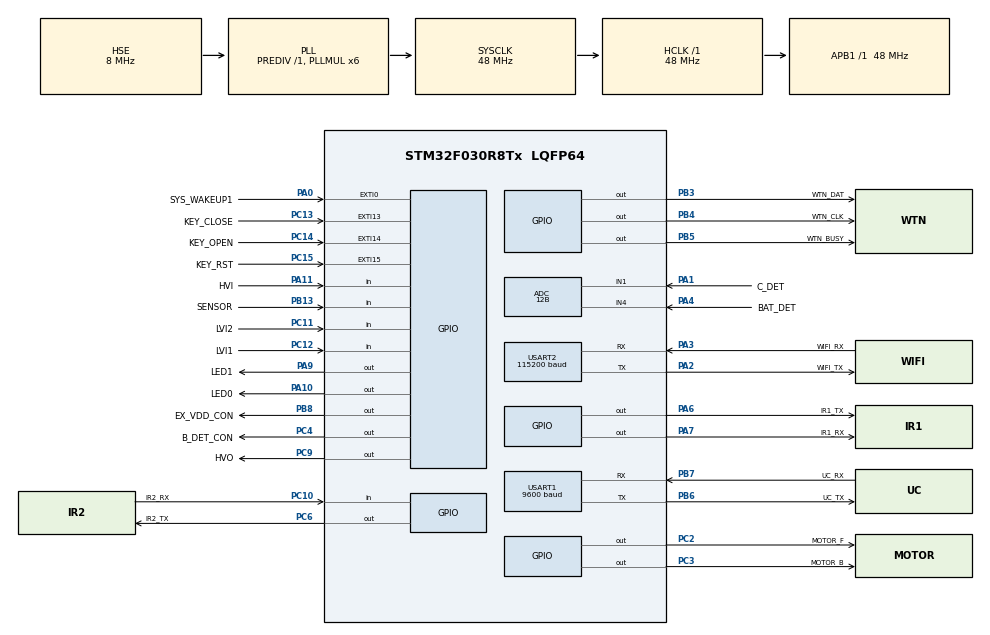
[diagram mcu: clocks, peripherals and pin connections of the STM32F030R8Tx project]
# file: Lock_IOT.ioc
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ADC.ClockPrescaler=ADC_CLOCK_SYNC_PCLK_DIV4
ADC.ContinuousConvMode=DISABLE
ADC.DMAContinuousRequests=DISABLE
ADC.Overrun=ADC_OVR_DATA_OVERWRITTEN
ADC.Resolution=ADC_RESOLUTION_12B
Dma.ADC.0.Direction=DMA_PERIPH_TO_MEMORY
Dma.ADC.0.Instance=DMA1_Channel2
Dma.ADC.0.MemDataAlignment=DMA_MDATAALIGN_WORD
Dma.ADC.0.MemInc=DMA_MINC_ENABLE
Dma.ADC.0.Mode=DMA_NORMAL
Dma.ADC.0.PeriphDataAlignment=DMA_PDATAALIGN_WORD
Dma.ADC.0.PeriphInc=DMA_PINC_DISABLE
Dma.ADC.0.Priority=DMA_PRIORITY_LOW
Dma.Request0=ADC
Mcu.Family=STM32F0
Mcu.Name=STM32F030R8Tx
Mcu.Package=LQFP64
NVIC.DMA1_Channel2_3_IRQn=true\:0\:0\:false\:true\:true\:4\:false\:true
NVIC.EXTI0_1_IRQn=true\:2\:0\:true\:true\:true\:1\:true\:true
NVIC.EXTI4_15_IRQn=true\:2\:0\:true\:true\:true\:2\:true\:true
NVIC.TIM17_IRQn=true\:3\:0\:true\:true\:true\:3\:true\:true
NVIC.USART1_IRQn=true\:1\:0\:true\:true\:true\:5\:true\:true
NVIC.USART2_IRQn=true\:1\:0\:true\:true\:true\:6\:true\:true
PA0.GPIO_Label=SYS_WAKEUP1
PA0.Signal=GPXTI0
PA1.GPIO_Label=C_DET
PA1.Mode=IN1
PA1.Signal=ADC_IN1
PA10.GPIO_Label=LED0
PA10.GPIO_Speed=GPIO_SPEED_FREQ_HIGH
PA10.PinState=GPIO_PIN_SET
PA10.Signal=GPIO_Output
PA11.GPIO_Label=HVI
PA11.Signal=GPIO_Input
PA13.Mode=Serial_Wire
PA13.Signal=SYS_SWDIO
PA14.Mode=Serial_Wire
PA14.Signal=SYS_SWCLK
PA2.GPIO_Label=WIFI_TX
PA2.GPIO_PuPd=GPIO_PULLUP
PA2.Mode=Asynchronous
PA2.Signal=USART2_TX
PA3.GPIO_Label=WIFI_RX
PA3.GPIO_PuPd=GPIO_PULLUP
PA3.Mode=Asynchronous
PA3.Signal=USART2_RX
PA4.GPIO_Label=BAT_DET
PA4.Mode=IN4
PA4.Signal=ADC_IN4
PA6.GPIO_Label=IR1_TX
PA6.GPIO_Speed=GPIO_SPEED_FREQ_HIGH
PA6.PinState=GPIO_PIN_SET
PA6.Signal=GPIO_Output
PA7.GPIO_Label=IR1_RX
PA7.GPIO_PuPd=GPIO_PULLDOWN
PA7.GPIO_Speed=GPIO_SPEED_FREQ_HIGH
PA7.Signal=GPIO_Output
PA9.GPIO_Label=LED1
PA9.GPIO_Speed=GPIO_SPEED_FREQ_HIGH
PA9.PinState=GPIO_PIN_SET
PA9.Signal=GPIO_Output
PB13.GPIO_Label=SENSOR
PB13.Signal=GPIO_Input
PB3.GPIO_Label=WTN_DAT
PB3.GPIO_Speed=GPIO_SPEED_FREQ_HIGH
PB3.Signal=GPIO_Output
PB4.GPIO_Label=WTN_CLK
PB4.GPIO_Speed=GPIO_SPEED_FREQ_HIGH
PB4.Signal=GPIO_Output
PB5.GPIO_Label=WTN_BUSY
PB5.GPIO_Speed=GPIO_SPEED_FREQ_HIGH
PB5.Signal=GPIO_Output
PB6.GPIO_Label=UC_TX
PB6.GPIO_PuPd=GPIO_PULLUP
PB6.Mode=Asynchronous
PB6.Signal=USART1_TX
PB7.GPIO_Label=UC_RX
PB7.GPIO_PuPd=GPIO_PULLUP
PB7.Mode=Asynchronous
PB7.Signal=USART1_RX
PB8.GPIO_FM8=SYSCFG_CFGR1_I2C_FMP_PB8
PB8.GPIO_Label=EX_VDD_CON
PB8.GPIO_Speed=GPIO_SPEED_FREQ_HIGH
PB8.PinState=GPIO_PIN_SET
PB8.Signal=GPIO_Output
PC10.GPIO_Label=IR2_RX
PC10.GPIO_PuPd=GPIO_PULLDOWN
PC10.Signal=GPIO_Input
PC11.GPIO_Label=LVI2
PC11.Signal=GPIO_Input
PC12.GPIO_Label=LVI1
PC12.Signal=GPIO_Input
PC13.GPIO_Label=KEY_CLOSE
PC13.GPIO_ModeDefaultEXTI=GPIO_MODE_IT_RISING
PC13.Signal=GPXTI13
PC14-OSC32_IN.GPIO_Label=KEY_OPEN
PC14-OSC32_IN.Signal=GPXTI14
PC15-OSC32_OUT.GPIO_Label=KEY_RST
PC15-OSC32_OUT.Signal=GPXTI15
PC2.GPIO_Label=MOTOR_F
PC2.GPIO_Speed=GPIO_SPEED_FREQ_HIGH
PC2.Signal=GPIO_Output
PC3.GPIO_Label=MOTOR_B
PC3.GPIO_Speed=GPIO_SPEED_FREQ_HIGH
PC3.Signal=GPIO_Output
PC4.GPIO_Label=B_DET_CON
PC4.GPIO_Speed=GPIO_SPEED_FREQ_HIGH
PC4.PinState=GPIO_PIN_SET
PC4.Signal=GPIO_Output
PC6.GPIO_Label=IR2_TX
PC6.GPIO_Speed=GPIO_SPEED_FREQ_HIGH
PC6.PinState=GPIO_PIN_SET
PC6.Signal=GPIO_Output
PC9.GPIO_Label=HVO
PC9.GPIO_Speed=GPIO_SPEED_FREQ_HIGH
PC9.PinState=GPIO_PIN_SET
PC9.Signal=GPIO_Output
PF0-OSC_IN.Mode=HSE-External-Oscillator
PF0-OSC_IN.Signal=RCC_OSC_IN
PF1-OSC_OUT.Mode=HSE-External-Oscillator
PF1-OSC_OUT.Signal=RCC_OSC_OUT
ProjectManager.HeapSize=0x400
ProjectManager.StackSize=0x600
ProjectManager.TargetToolchain=MDK-ARM V5
RCC.AHBFreq_Value=48000000
RCC.APB1Freq_Value=48000000
RCC.APB1TimFreq_Value=48000000
RCC.EnbaleCSS=true
RCC.HCLKFreq_Value=48000000
RCC.PLLMUL=RCC_PLL_MUL6
RCC.PLLSourceVirtual=RCC_PLLSOURCE_HSE
RCC.SYSCLKFreq_VALUE=48000000
RCC.SYSCLKSource=RCC_SYSCLKSOURCE_PLLCLK
RCC.Usart1ClockSelection=RCC_USART1CLKSOURCE_HSI
TIM17.Period=1000
TIM17.Prescaler=48000-1
USART1.BaudRate=9600
USART1.VirtualMode-Asynchronous=VM_ASYNC
USART2.BaudRate=115200
USART2.VirtualMode-Asynchronous=VM_ASYNC
VP_RTC_VS_RTC_Activate.Mode=RTC_Enabled
VP_RTC_VS_RTC_Calendar.Mode=RTC_Calendar
VP_TIM17_VS_ClockSourceINT.Mode=Enable_Timer
board=custom

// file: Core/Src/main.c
/* USER CODE BEGIN Header */
/**
  ******************************************************************************
  * @file           : main.c
  * @brief          : Main program body
  ******************************************************************************
  * @attention
  *
  * <h2><center>&copy; Copyright (c) 2019 STMicroelectronics.
  * All rights reserved.</center></h2>
  *
  * This software component is licensed by ST under BSD 3-Clause license,
  * the "License"; You may not use this file except in compliance with the
  * License. You may obtain a copy of the License at:
  *                        opensource.org/licenses/BSD-3-Clause
  *
  ******************************************************************************
  */
/* USER CODE END Header */

#include "main.h"
#include "adc.h"
#include "dma.h"
#include "rtc.h"
#include "tim.h"
#include "usart.h"
#include "gpio.h"

/* USER CODE BEGIN Includes */
//软件
#include "systemstatus.h"
#include "FaceReco.h"

//外设
#include "wtn6040.h"
#include "wifi.h"
#include "motor.h"

/* USER CODE END Includes */

/* USER CODE BEGIN PTD */
typedef struct
{
  uint8_t IR1_State;
  uint8_t IR2_State;
} IR_StateTypedef;
IR_StateTypedef IR_State;

/* USER CODE END PTD */

/* USER CODE BEGIN PV */
uint8_t WIFI_Data=0;
uint8_t UC_Data=0;

uint8_t DoorCMD = 0;  //全局变量
uint8_t DoorStatus = DOOR_OPEN;
int     VisitorNum;

uint32_t ADC_Data[2];
uint32_t Tim_IT_Count=0;
/* USER CODE END PV */

void SystemClock_Config(void);
static void MX_NVIC_Init(void);
/* USER CODE BEGIN PFP */
void StandbyMode(void);
/* USER CODE END PFP */

int main(void)
{

  /* MCU Configuration--------------------------------------------------------*/

  /* Reset of all peripherals, Initializes the Flash interface and the Systick. */
  HAL_Init();

  /* Configure the system clock */
  SystemClock_Config();

  /* Initialize all configured peripherals */
  MX_GPIO_Init();
  MX_DMA_Init();
  MX_USART2_UART_Init();
  MX_USART1_UART_Init();
  MX_RTC_Init();
  MX_ADC_Init();
  MX_TIM17_Init();

  /* Initialize interrupts */
  MX_NVIC_Init();
  /* USER CODE BEGIN 2 */
  EX_VDD_ON;

  IR1_ON;
  IR2_ON;

  SendMessage(0);
  HAL_Delay(100);

  LED0_ON;

//		SendMessage(4);

		HAL_ADCEx_Calibration_Start(&hadc);

		HAL_Delay(100);
		HAL_UART_Receive_IT(&hWIFI, &WIFI_Data, 1);
		HAL_Delay(100);
		HAL_UART_Receive_IT(&hUCUART, &UC_Data, 1);
		HAL_Delay(100);
		wifi_protocol_init();
		mcu_reset_wifi();
  while ( mcu_get_wifi_work_state() != WIFI_CONNECTED  )
		{
		  LED1_ON;
			 HAL_Delay(10);
			 LED1_OFF;
			 HAL_Delay(500);
		}

  LED1_ON;
  HAL_TIM_Base_Start_IT(&htim17);
  /* USER CODE END 2 */

  /* Infinite loop */
  while (1)
  {

    /* USER CODE BEGIN 3 */
    IR_State.IR1_State = IR1_IN;
    IR_State.IR2_State = IR2_IN;

    if (DoorCMD == FACE_CHECKED && FaceCheck.Open == 0)  //人脸检测
    {
      FaceCMDSemd();
      SendMessage(15);
      DoorCMD = DOOR_WAIT;

				 	FaceCheck.Open = 1;
					 FaceReco_Init();
    }
    else if (DoorCMD == DOOR_OPEN) //开门
    {
      SendMessage(16);
					 LED0_ON;
      DoorOpen();

      DoorCMD = DOOR_WAIT;
      LED0_OFF;
      SendMessage(7);

      DoorStatus = DOOR_OPEN;
    }
    else if (DoorCMD == DOOR_CLOSE) //关门
    {
      LED0_ON;
      DoorClose();
      DoorCMD = DOOR_WAIT;
      LED0_OFF;
      SendMessage(8);
      DoorStatus = DOOR_CLOSE;
    }
    else if (DoorCMD == BAT_WARN) //发出低电警告  约一分钟一次警告
    {
      LED0_ON;
      LED1_OFF;
      SendMessage(1);
      DoorCMD = DOOR_WAIT;
    }
    else if (DoorCMD == DOOR_SLEEP) //睡眠模式
    {
      EX_VDD_OFF;
      LED1_OFF;
      LED0_OFF;
      DoorCMD = DOOR_WAIT;
      StandbyMode();
    }
    else if (DoorCMD == NET_DISCONC) //无网络
    {
      SendMessage(13);
      DoorCMD = DOOR_WAIT;
    }
    else if (DoorCMD == NET_CONC) //有网络
    {
      SendMessage(12);
      DoorCMD = DOOR_WAIT;
    }
    else
    {
      DoorCMD = DOOR_WAIT;
    }

				  if(FaceCheck.Open == 1)
						{
								FaceCheck.VisitorNum = FaceDataCheck();
								if (FaceCheck.VisitorNum >= -1)
								{
										FaceCheck.Open = 0;
										if (FaceCheck.VisitorNum >= 0)
										{
												DoorCMD = DOOR_OPEN;
										}
								}
						}

						if(Tim_IT_Count>10)
						{

								Tim_IT_Count=0;
							 B_DET_ON;
        HAL_ADC_Start_DMA(&hadc, ADC_Data, 2);
								Battery.AD = ADC_Data[1] * 2475 / 80;
	       HAL_ADC_Stop_DMA(&hadc);
							 B_DET_OFF;
								if( Battery.AD < 6000 )
								{
										Battery.WarnCount++;
										if(Battery.WarnCount > 6)//100 * 10s
										{
												DoorCMD = BAT_WARN;
												if( Battery.AD > 5500 )
												{
														Battery.Status = medium;
												}
												else if( Battery.AD > 5000 )
												{
														Battery.Status = low;
												}
												else
												{
														Battery.Status = poweroff;
												}
												Battery.WarnCount = 0;
										}

								}
								else
								{
										Battery.WarnCount = 0;
										Battery.Status = high;
								}
						}
				 all_data_update();  //涂鸦云数据点上报
     wifi_uart_service();

		}
  /* USER CODE END 3 */
}

void SystemClock_Config(void)
{
  RCC_OscInitTypeDef RCC_OscInitStruct = {0};
  RCC_ClkInitTypeDef RCC_ClkInitStruct = {0};
  RCC_PeriphCLKInitTypeDef PeriphClkInit = {0};

  /** Initializes the CPU, AHB and APB busses clocks
  */
  RCC_OscInitStruct.OscillatorType = RCC_OSCILLATORTYPE_HSI|RCC_OSCILLATORTYPE_LSI
                              |RCC_OSCILLATORTYPE_HSE;
  RCC_OscInitStruct.HSEState = RCC_HSE_ON;
  RCC_OscInitStruct.HSIState = RCC_HSI_ON;
  RCC_OscInitStruct.HSICalibrationValue = RCC_HSICALIBRATION_DEFAULT;
  RCC_OscInitStruct.LSIState = RCC_LSI_ON;
  RCC_OscInitStruct.PLL.PLLState = RCC_PLL_ON;
  RCC_OscInitStruct.PLL.PLLSource = RCC_PLLSOURCE_HSE;
  RCC_OscInitStruct.PLL.PLLMUL = RCC_PLL_MUL6;
  RCC_OscInitStruct.PLL.PREDIV = RCC_PREDIV_DIV1;
  if (HAL_RCC_OscConfig(&RCC_OscInitStruct) != HAL_OK)
  {
    Error_Handler();
  }
  /** Initializes the CPU, AHB and APB busses clocks
  */
  RCC_ClkInitStruct.ClockType = RCC_CLOCKTYPE_HCLK|RCC_CLOCKTYPE_SYSCLK
                              |RCC_CLOCKTYPE_PCLK1;
  RCC_ClkInitStruct.SYSCLKSource = RCC_SYSCLKSOURCE_PLLCLK;
  RCC_ClkInitStruct.AHBCLKDivider = RCC_SYSCLK_DIV1;
  RCC_ClkInitStruct.APB1CLKDivider = RCC_HCLK_DIV1;

  if (HAL_RCC_ClockConfig(&RCC_ClkInitStruct, FLASH_LATENCY_1) != HAL_OK)
  {
    Error_Handler();
  }
  PeriphClkInit.PeriphClockSelection = RCC_PERIPHCLK_USART1|RCC_PERIPHCLK_RTC;
  PeriphClkInit.Usart1ClockSelection = RCC_USART1CLKSOURCE_HSI;
  PeriphClkInit.RTCClockSelection = RCC_RTCCLKSOURCE_LSI;
  if (HAL_RCCEx_PeriphCLKConfig(&PeriphClkInit) != HAL_OK)
  {
    Error_Handler();
  }
  /** Enables the Clock Security System
  */
  HAL_RCC_EnableCSS();
}

/**
  * @brief NVIC Configuration.
  * @retval None
  */
static void MX_NVIC_Init(void)
{
  /* EXTI0_1_IRQn interrupt configuration */
  HAL_NVIC_SetPriority(EXTI0_1_IRQn, 2, 0);
  HAL_NVIC_EnableIRQ(EXTI0_1_IRQn);
  /* EXTI4_15_IRQn interrupt configuration */
  HAL_NVIC_SetPriority(EXTI4_15_IRQn, 2, 0);
  HAL_NVIC_EnableIRQ(EXTI4_15_IRQn);
  /* TIM17_IRQn interrupt configuration */
  HAL_NVIC_SetPriority(TIM17_IRQn, 3, 0);
  HAL_NVIC_EnableIRQ(TIM17_IRQn);
  /* DMA1_Channel2_3_IRQn interrupt configuration */
  HAL_NVIC_SetPriority(DMA1_Channel2_3_IRQn, 0, 0);
  HAL_NVIC_EnableIRQ(DMA1_Channel2_3_IRQn);
  /* USART1_IRQn interrupt configuration */
  HAL_NVIC_SetPriority(USART1_IRQn, 1, 0);
  HAL_NVIC_EnableIRQ(USART1_IRQn);
  /* USART2_IRQn interrupt configuration */
  HAL_NVIC_SetPriority(USART2_IRQn, 1, 0);
  HAL_NVIC_EnableIRQ(USART2_IRQn);
}

/* USER CODE BEGIN 4 */
void StandbyMode(void)
{
  __HAL_RCC_PWR_CLK_ENABLE();
  HAL_PWR_EnableBkUpAccess();
  __HAL_RCC_BACKUPRESET_FORCE();
  __HAL_RCC_BACKUPRESET_RELEASE();
  HAL_PWR_DisableWakeUpPin(PWR_WAKEUP_PIN1);
  __HAL_PWR_CLEAR_FLAG(PWR_FLAG_WU);
  HAL_PWR_EnableWakeUpPin(PWR_WAKEUP_PIN1);
  HAL_PWR_EnterSTANDBYMode();
}
/* USER CODE END 4 */

void Error_Handler(void)
{
}

/************************ (C) COPYRIGHT STMicroelectronics *****END OF FILE****/
